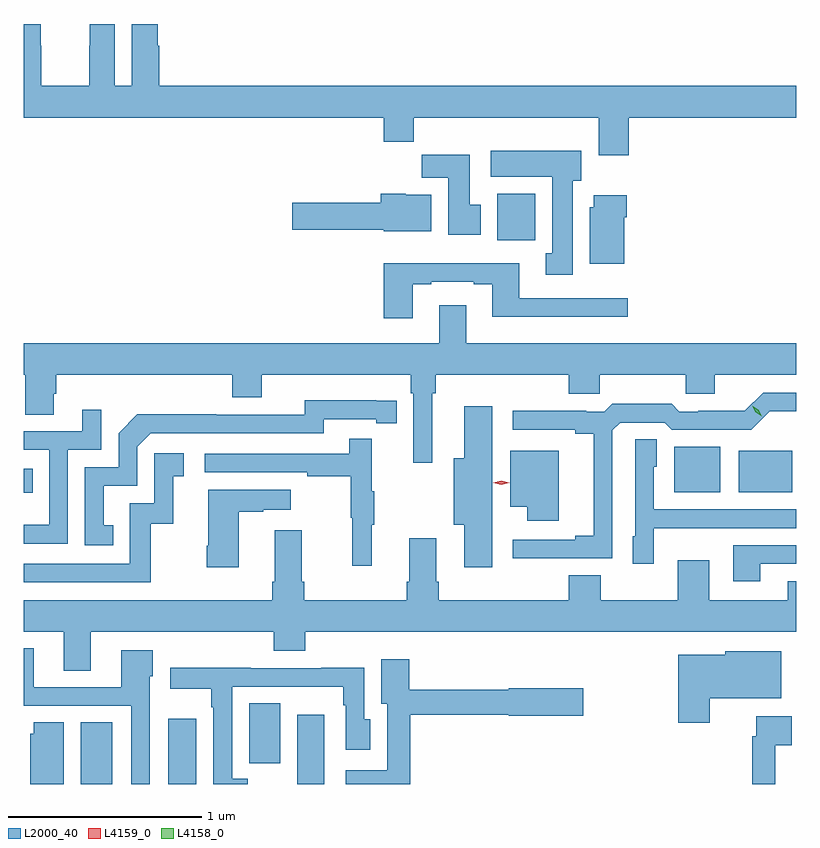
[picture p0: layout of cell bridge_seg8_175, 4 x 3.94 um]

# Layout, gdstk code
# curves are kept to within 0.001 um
import gdstk
lib = gdstk.Library(unit=1e-6, precision=1e-09)
def R(c, l, rs):  # rectangles x0, y0, x1, y1
    for r in rs: c.add(gdstk.rectangle(r[:2], r[2:], *l))
def P(c, l, *ps):  # polygons
    for p in ps: c.add(gdstk.Polygon(p, *l))
L2000_40 = (2000, 40)
L4158_0 = (4158, 0)
L4159_0 = (4159, 0)

bridge_seg8_175 = lib.new_cell('bridge_seg8_175')
R(bridge_seg8_175, L2000_40, [(399.116,1103.724,399.28,1104.044), (399.569,1103.724,399.715,1104.061), (400.238,1103.724,400.378,1104.082), (399.989,1103.832,400.15,1104.143), (398.822,1105.233,398.867,1105.356), (402.191,1105.235,402.43,1105.471), (402.524,1105.235,402.802,1105.45), (401.273,1106.54,401.47,1106.782)])
P(bridge_seg8_175, L2000_40, [(401.954,1107.176),(402.822,1107.176),(402.822,1107.34),(399.524,1107.34),(399.524,1107.548),(399.514,1107.548),(399.514,1107.661),(399.38,1107.661),(399.38,1107.34),(399.292,1107.34),(399.292,1107.661),(399.162,1107.661),(399.162,1107.548),(399.161,1107.548),(399.161,1107.34),(398.911,1107.34),(398.911,1107.548),(398.91,1107.548),(398.91,1107.661),(398.822,1107.661),(398.822,1107.176),(400.685,1107.176),(400.685,1107.052),(400.841,1107.052),(400.841,1107.176),(401.801,1107.176),(401.801,1106.982),(401.954,1106.982)],
  [(401.665,1106.85),(401.71,1106.85),(401.71,1107.004),(401.241,1107.004),(401.241,1106.87),(401.558,1106.87),(401.558,1106.474),(401.525,1106.474),(401.525,1106.361),(401.665,1106.361)],
  [(401.188,1106.724),(401.131,1106.724),(401.131,1106.983),(400.882,1106.983),(400.882,1106.864),(401.021,1106.864),(401.021,1106.568),(401.188,1106.568)],
  [(400.933,1106.776),(400.8,1106.776),(400.8,1106.782),(400.67,1106.782),(400.67,1106.736),(400.212,1106.736),(400.212,1106.594),(400.686,1106.594),(400.686,1106.588),(400.933,1106.588)],
  [(401.932,1106.66),(401.945,1106.66),(401.945,1106.773),(401.774,1106.773),(401.774,1106.712),(401.753,1106.712),(401.753,1106.42),(401.932,1106.42)],
  [(400.837,1106.313),(400.933,1106.313),(400.933,1106.325),(401.153,1106.325),(401.153,1106.313),(401.249,1106.313),(401.249,1106.144),(401.95,1106.144),(401.95,1106.241),(401.389,1106.241),(401.389,1106.422),(400.685,1106.422),(400.685,1106.136),(400.837,1106.136)],
  [(400.936,1105.748),(400.955,1105.748),(400.955,1105.844),(401.645,1105.844),(401.645,1105.746),(401.805,1105.746),(401.805,1105.844),(402.25,1105.844),(402.25,1105.746),(402.4,1105.746),(402.4,1105.844),(402.822,1105.844),(402.822,1106.008),(401.113,1106.008),(401.113,1106.203),(400.973,1106.203),(400.973,1106.008),(398.822,1106.008),(398.822,1105.844),(398.83,1105.844),(398.83,1105.636),(398.977,1105.636),(398.977,1105.746),(398.99,1105.746),(398.99,1105.844),(399.902,1105.844),(399.902,1105.727),(400.054,1105.727),(400.054,1105.844),(400.826,1105.844),(400.826,1105.748),(400.839,1105.748),(400.839,1105.389),(400.936,1105.389)],
  [(401.871,1105.557),(401.91,1105.596),(402.141,1105.596),(402.177,1105.56),(402.591,1105.56),(402.686,1105.655),(402.822,1105.656),(402.822,1105.752),(402.651,1105.752),(402.557,1105.658),(402.316,1105.658),(402.316,1105.653),(402.216,1105.653),(402.177,1105.693),(401.869,1105.693),(401.829,1105.653),(401.735,1105.653),(401.735,1105.658),(401.355,1105.658),(401.355,1105.56),(401.678,1105.56),(401.678,1105.538),(401.774,1105.538),(401.774,1105.01),(401.678,1105.01),(401.678,1104.99),(401.355,1104.99),(401.355,1104.894),(401.871,1104.894)],
  [(399.284,1105.065),(399.235,1105.065),(399.235,1105.269),(399.408,1105.269),(399.408,1105.47),(399.48,1105.542),(400.374,1105.542),(400.374,1105.614),(400.646,1105.614),(400.646,1105.594),(400.754,1105.594),(400.754,1105.71),(400.278,1105.711),(400.278,1105.638),(399.818,1105.638),(399.818,1105.64),(399.41,1105.64),(399.312,1105.542),(399.312,1105.365),(399.138,1105.365),(399.138,1104.96),(399.284,1104.96)],
  [(401.248,1105.681),(401.102,1105.681),(401.102,1105.411),(401.048,1105.411),(401.048,1105.067),(401.102,1105.067),(401.102,1104.846),(401.248,1104.846)],
  [(399.048,1105.455),(399.222,1105.455),(399.222,1105.663),(399.125,1105.663),(399.125,1105.551),(398.822,1105.551),(398.822,1105.455),(398.952,1105.455),(398.952,1105.066),(398.822,1105.066),(398.822,1104.969),(399.048,1104.969)],
  [(400.625,1105.067),(400.636,1105.067),(400.636,1105.241),(400.625,1105.241),(400.625,1105.513),(400.507,1105.513),(400.507,1105.434),(399.759,1105.434),(399.759,1105.338),(400.291,1105.338),(400.291,1105.318),(400.515,1105.318),(400.515,1105.104),(400.522,1105.104),(400.522,1104.855),(400.625,1104.855)],
  [(402.084,1105.049),(402.401,1105.049),(402.401,1105.05),(402.822,1105.05),(402.822,1105.146),(402.084,1105.146),(402.084,1105.368),(402.1,1105.368),(402.1,1105.511),(401.988,1105.511),(401.988,1105.008),(401.975,1105.008),(401.975,1104.864),(402.084,1104.864)],
  [(401.593,1105.45),(401.342,1105.45),(401.342,1105.16),(401.429,1105.16),(401.429,1105.088),(401.593,1105.088)],
  [(399.478,1105.071),(399.596,1105.071),(399.596,1105.317),(399.649,1105.317),(399.649,1105.438),(399.498,1105.438),(399.498,1105.179),(399.369,1105.179),(399.369,1104.864),(398.822,1104.864),(398.822,1104.768),(399.478,1104.768)],
  [(399.934,1105.135),(400.061,1105.135),(400.061,1105.145),(400.204,1105.145),(400.204,1105.249),(399.776,1105.249),(399.776,1104.958),(399.769,1104.958),(399.769,1104.846),(399.934,1104.846)],
  [(399.169,1104.512),(400.115,1104.512),(400.115,1104.413),(400.28,1104.413),(400.28,1104.512),(402.822,1104.512),(402.822,1104.775),(402.779,1104.775),(402.779,1104.676),(402.373,1104.676),(402.373,1104.883),(402.209,1104.883),(402.209,1104.676),(401.809,1104.676),(401.809,1104.805),(401.645,1104.805),(401.645,1104.676),(400.97,1104.676),(400.97,1104.772),(400.957,1104.772),(400.957,1104.997),(400.817,1104.997),(400.817,1104.772),(400.805,1104.772),(400.805,1104.676),(400.274,1104.676),(400.274,1104.772),(400.261,1104.772),(400.261,1105.039),(400.121,1105.039),(400.121,1104.772),(400.109,1104.772),(400.109,1104.676),(398.822,1104.676),(398.822,1104.512),(399.029,1104.512),(399.029,1104.31),(399.169,1104.31)],
  [(402.637,1104.864),(402.822,1104.864),(402.822,1104.96),(402.497,1104.96),(402.497,1104.774),(402.637,1104.774)],
  [(399.474,1104.282),(399.49,1104.282),(399.49,1104.418),(399.326,1104.418),(399.326,1104.225),(398.872,1104.225),(398.872,1104.427),(398.822,1104.427),(398.822,1104.129),(399.378,1104.129),(399.378,1103.724),(399.474,1103.724)],
  [(402.376,1104.167),(402.745,1104.167),(402.745,1104.412),(402.456,1104.412),(402.456,1104.394),(402.211,1104.394),(402.211,1104.042),(402.376,1104.042)],
  [(400.822,1104.082),(401.334,1104.082),(401.334,1104.077),(401.719,1104.077),(401.719,1104.219),(401.334,1104.219),(401.334,1104.211),(400.817,1104.211),(400.817,1104.37),(400.673,1104.37),(400.673,1104.141),(400.703,1104.141),(400.703,1103.796),(400.488,1103.796),(400.488,1103.724),(400.822,1103.724)],
  [(399.982,1103.751),(399.9,1103.751),(399.9,1104.228),(400.246,1104.228),(400.246,1104.227),(400.476,1104.227),(400.476,1104.131),(400.488,1104.131),(400.488,1103.901),(400.615,1103.901),(400.615,1104.06),(400.584,1104.06),(400.584,1104.326),(400.363,1104.326),(400.363,1104.324),(399.997,1104.324),(399.997,1104.326),(399.579,1104.326),(399.579,1104.218),(399.792,1104.218),(399.792,1104.122),(399.804,1104.122),(399.804,1103.724),(399.982,1103.724)],
  [(402.713,1103.924),(402.799,1103.924),(402.799,1104.076),(402.615,1104.076),(402.615,1103.972),(402.595,1103.972),(402.595,1103.724),(402.713,1103.724)],
  [(399.028,1104.044),(398.873,1104.044),(398.873,1103.985),(398.855,1103.985),(398.855,1103.724),(399.028,1103.724)])
P(bridge_seg8_175, L4158_0, [(402.644,1105.629),(402.612,1105.65),(402.596,1105.683),(402.596,1105.684),(402.596,1105.684),(402.627,1105.663),(402.644,1105.63),(402.644,1105.629)])
P(bridge_seg8_175, L4159_0, [(401.294,1105.274),(401.254,1105.284),(401.253,1105.284),(401.254,1105.284),(401.294,1105.294),(401.335,1105.284),(401.335,1105.284),(401.335,1105.284)])

lib.write_gds('bridge_seg8_175.gds')
